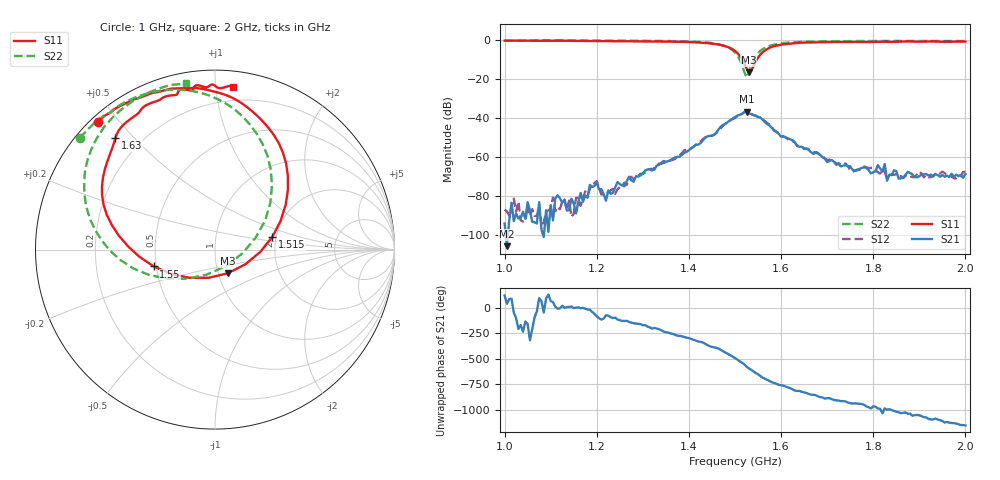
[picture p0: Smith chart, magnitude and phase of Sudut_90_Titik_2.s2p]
# Hz S RI R 50
! CMT, C1220, 16058040, 17.2.0/1
! Date: 14/08/2018 12:46:07
! Data: Format (Calibration Info)
! Freq  S11: Re/Im (F2)  S21: Re/Im (F2)  S12: Re/Im (F2)  S22: Re/Im (F2)
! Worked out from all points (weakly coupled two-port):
!   201 points, 1 GHz to 2 GHz, reference 50 ohm
!   highest |S21| = -36.68 dB at 1.525 GHz (marker M1); lowest = -105.6 dB at 1.005 GHz (marker M2)
!   lowest |S11| = -16.5 dB at 1.53 GHz (marker M3), VSWR 1.35, Z = 55.5 - j15 ohm
!   |S11| at or under -10 dB: 1.516 GHz to 1.548 GHz (31.89 MHz wide, 2.08 % of centre)
!   |S22| runs from -19.2 to -0.2 dB; largest |S21 - S12| = 0.00064
!   S11 on the Smith chart (normalised r, x): 1 GHz: 0.02, +0.44; 1.515 GHz: 1.91, +0.30; 1.55 GHz: 0.48, -0.10; 1.63 GHz: 0.11, +0.44; 2 GHz: 0.10, +1.11
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1e9  -0.6512 0.7128  -9.78e-06 1.74e-05  2.61e-06 -4.54e-05  -0.754 0.6215
1.005e9  -0.6442 0.718  4.07e-06 3.32e-06  2.54e-05 -3.21e-05  -0.7504 0.6256
1.17e9  -0.4805 0.8237  7.16e-05 -2.28e-06  8.88e-05 -8.93e-06  -0.6185 0.7466
1.2e9  -0.4382 0.8404  2.29e-05 -0.000226  1.31e-05 -0.000243  -0.5851 0.7599
1.22e9  -0.416 0.8477  2.14e-05 -7.35e-05  2.28e-05 -0.000107  -0.574 0.774
1.24e9  -0.3795 0.8617  -2.11e-05 -0.000167  -4.68e-05 -0.000105  -0.5516 0.7919
1.335e9  -0.2176 0.8976  -0.000541 0.000323  -0.00055 0.000411  -0.404 0.8616
1.45e9  0.1812 0.7917  0.00319 -0.00146  0.00317 -0.00174  0.0181 0.8366
1.5e9  0.4064 0.3351  -0.00736 -0.00771  -0.00694 -0.00724  0.3175 0.3569
1.515e9  0.3193 0.0703  -0.0128 -0.000259  -0.0129 -0.000617  0.2249 0.0644
1.525e9  0.1691 -0.0818  -0.0117 0.00885  -0.0119 0.0088  0.0603 -0.0923
1.53e9  0.071 -0.132  -0.00749 0.0106  -0.00753 0.0107  -0.0457 -0.1393
1.55e9  -0.3411 -0.094  0.00406 0.00989  0.00366 0.01  -0.4529 -0.1059
1.58e9  -0.621 0.2506  0.00551 -0.00101  0.00566 -0.0013  -0.7084 0.2087
1.63e9  -0.5551 0.6216  -8.91e-05 -0.0024  2.41e-05 -0.00237  -0.6959 0.5399
1.67e9  -0.4459 0.7453  -0.000845 -0.00089  -0.000907 -0.000938  -0.6276 0.6685
1.755e9  -0.2778 0.8522  -0.000371 0.000302  -0.000302 0.000296  -0.4928 0.8027
1.795e9  -0.2074 0.8744  -1.71e-05 0.000384  -0.000132 0.000515  -0.4358 0.8395
1.825e9  -0.1579 0.8905  -3.62e-05 0.000666  0.000216 0.000352  -0.3952 0.8621
1.83e9  -0.1457 0.8882  4.62e-05 0.000245  1.24e-05 0.000284  -0.3884 0.8654
1.835e9  -0.1355 0.8857  3.35e-05 0.000351  0.000152 0.000314  -0.3819 0.869
2e9  0.1018 0.9056  9.82e-05 -0.000354  0.000131 -0.000404  -0.1597 0.93
